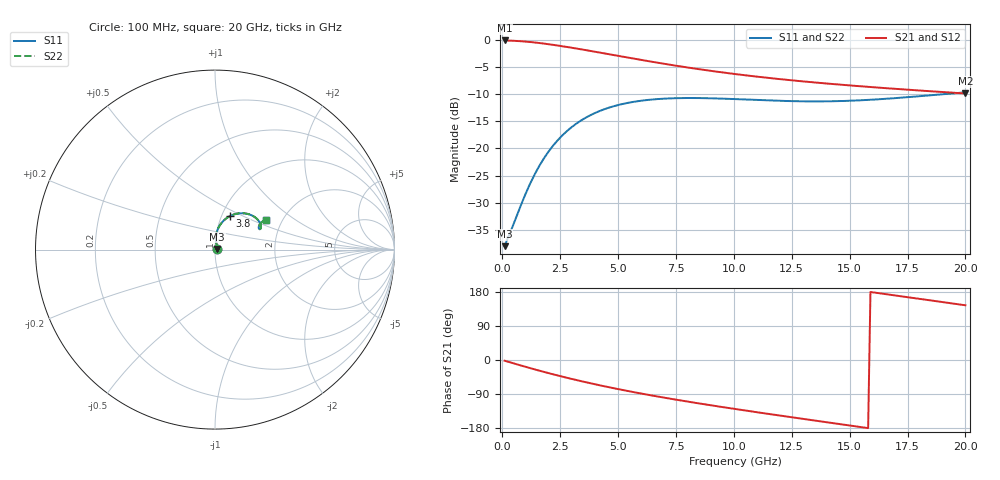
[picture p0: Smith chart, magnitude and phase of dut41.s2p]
! Touchstone file exported from HFSS 2024.1.0
!  File:  C:/UserFiles/LocalFiles/RDL_TSV_Batchsim/temp_RDL_TSV_41_1779404628.aedt
!  Generated:  07:17:49 AM May 22, 2026
!  Design:  RDL_TSV
!  Project:  temp_RDL_TSV_41_1779404628
!  Setup:  Setup1
!  Solution:  Sweep
! Variables:
!  dtsv = 6.66um
!  hbump = 3um
!  htsv = 83.99um
!  ldown = 324.41um
!  lrdl = 526.11um
!  p = 40
!  p1 = 57.86um
!  rhole = 10um
!  subl = 3077.67um
!  t = 450um
!  tdown = 3.76um
!  trdl = 4.78um
!  viad = 10um
!  wdown = 23.52um
!  wrdl = 25.09um
!  xbump = 18um
# GHz S MA R 50.000000
! Terminal data exported
! Port[1] = TM1_1_T1
! Port[2] = TM1_4_T1
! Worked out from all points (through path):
!   200 points, 100 MHz to 20 GHz, reference 50 ohm
!   highest |S21| = -0.11 dB at 100 MHz (marker M1); lowest = -9.9 dB at 20 GHz (marker M2)
!   group delay of S21, straight-line fit = 28.2 ps
!   lowest |S11| = -38.0 dB at 100 MHz (marker M3), VSWR 1.03, Z = 51.2 + j0.408 ohm
!   |S11| at or under -10 dB: start of sweep to 19.05 GHz
!   |S22| runs from -38.0 to -9.7 dB; largest |S21 - S12| = 7.3e-15
!   S11 on the Smith chart (normalised r, x): 100 MHz: 1.02, +0.01; 3.8 GHz: 1.09, +0.42; 20 GHz: 1.65, +0.61
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0.1  0.01259 18.5  0.9877 -1.9  0.9877 -1.9  0.01259 18.5
! Gamma 0 0 0 0
! Port Impedance 50 0 50 0
0.6  0.0232 62.7  0.9782 -10.9  0.9782 -10.9  0.0232 62.7
1.1  0.0425 80.8  0.9605 -19.7  0.9605 -19.7  0.04249 80.8
1.4  0.05781 84.6  0.9463 -24.8  0.9463 -24.8  0.05779 84.6
1.7  0.07512 85.4  0.93 -29.8  0.93 -29.8  0.07509 85.4
2.1  0.1001 83.9  0.9059 -36.3  0.9059 -36.3  0.1001 83.9
2.5  0.126 80.6  0.8801 -42.5  0.8801 -42.5  0.1259 80.6
3  0.1574 75.4  0.8464 -50.0  0.8464 -50.0  0.1574 75.5
3.5  0.1864 69.8  0.8121 -57.2  0.8121 -57.2  0.1865 69.8
3.8  0.2022 66.4  0.7916 -61.3  0.7916 -61.3  0.2022 66.5
4.5  0.2335 58.8  0.7449 -70.5  0.7449 -70.5  0.2336 58.9
5.3  0.2598 51.0  0.6944 -80.4  0.6944 -80.4  0.2599 51.1
6  0.2753 45.1  0.6537 -88.6  0.6537 -88.6  0.2755 45.1
6.8  0.2859 39.3  0.6114 -97.4  0.6114 -97.4  0.2862 39.3
8.4  0.2913 30.8  0.5407 -113.7  0.5407 -113.7  0.2916 30.9
10.1  0.2846 25.9  0.4831 -129.7  0.4831 -129.7  0.2849 25.9
11.7  0.2759 24.4  0.4415 -144.1  0.4415 -144.1  0.2763 24.5
13.4  0.2713 25.4  0.4069 -159.0  0.4069 -159.0  0.2717 25.4
15  0.2749 27.6  0.3807 -172.8  0.3807 -172.8  0.2753 27.5
16.7  0.288 29.7  0.3574 172.6  0.3574 172.6  0.2884 29.6
18.4  0.3077 30.6  0.3374 158.0  0.3374 158.0  0.3081 30.6
20  0.3287 30.2  0.3209 144.4  0.3209 144.4  0.3291 30.2
